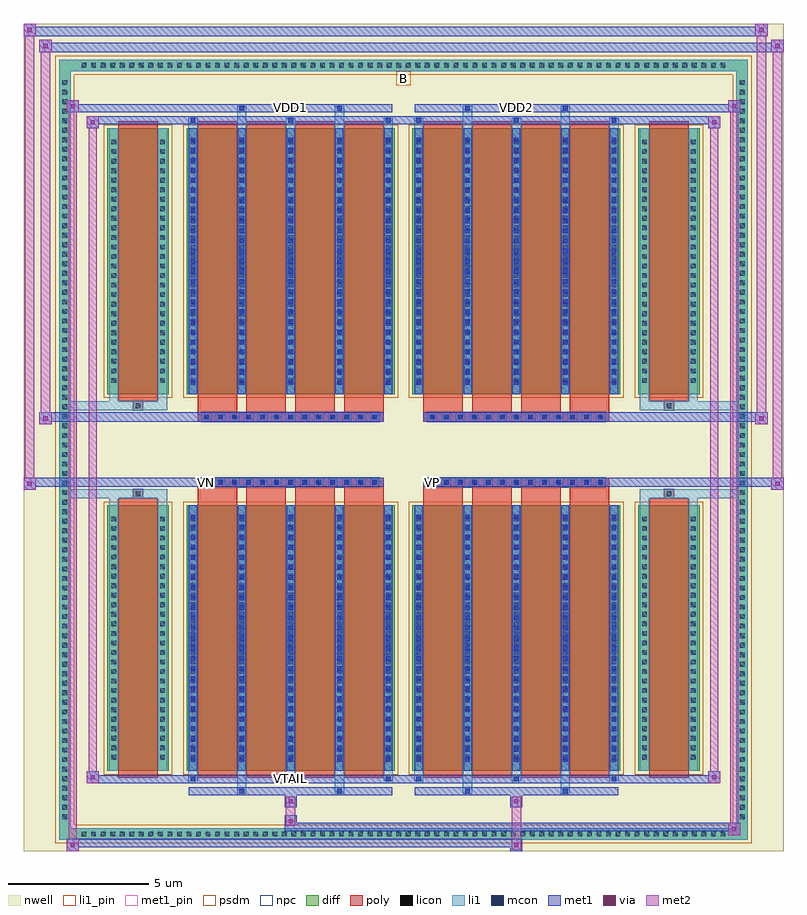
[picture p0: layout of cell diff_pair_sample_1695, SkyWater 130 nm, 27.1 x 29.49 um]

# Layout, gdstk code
import gdstk
lib = gdstk.Library(unit=1e-6, precision=5e-09)
def R(c, l, rs):  # rectangles x0, y0, x1, y1
    for r in rs: c.add(gdstk.rectangle(r[:2], r[2:], *l))
def A(c, l, x, y, w, h, nx, ny, dx, dy):  # array of equal rectangles
    R(c, l, [(x+i*dx, y+j*dy, x+i*dx+w, y+j*dy+h) for i in range(nx) for j in range(ny)])
def P(c, l, *ps):  # polygons
    for p in ps: c.add(gdstk.Polygon(p, *l))
nwell = (64, 20)
diff = (65, 20)
poly = (66, 20)
licon = (66, 44)
li1_pin = (67, 16)
li1 = (67, 20)
mcon = (67, 44)
met1_pin = (68, 16)
met1 = (68, 20)
via = (68, 44)
met2 = (69, 20)
psdm = (94, 20)
npc = (95, 20)

diff_pair_sample_1695 = lib.new_cell('diff_pair_sample_1695')
R(diff_pair_sample_1695, nwell, [(-13.55,-14.31,13.55,15.18), (-10.87,-12.5,-0.01,-0.8), (0.01,-12.5,10.87,-0.8), (-10.87,0.8,-0.01,12.5), (0.01,0.8,10.87,12.5)])
A(diff_pair_sample_1695, diff, -11.595, -13.91, 0.41, 0.41, 68, 2, 0.34, 27.41)
A(diff_pair_sample_1695, diff, -12.28, -13.295, 0.41, 0.41, 1, 78, 0, 0.34)
A(diff_pair_sample_1695, diff, 11.87, -13.295, 0.41, 0.41, 1, 78, 0, 0.34)
R(diff_pair_sample_1695, diff, [(-11.595,-13.91,11.595,-13.5), (-12.28,-13.295,-11.87,13.295), (11.87,-13.295,12.28,13.295), (-10.56,-11.455,-8.37,-1.985), (-7.73,-11.455,-0.32,-1.985), (0.32,-11.455,7.73,-1.985), (8.37,-11.455,10.56,-1.985), (-10.56,1.985,-8.37,11.455), (-7.73,1.985,-0.32,11.455), (0.32,1.985,7.73,11.455), (8.37,1.985,10.56,11.455), (-11.595,13.5,11.595,13.91)])
P(diff_pair_sample_1695, diff, [(12.28,13.91),(-12.28,13.91),(-12.28,-13.5),(-11.87,-13.5),(-11.87,13.5),(11.87,13.5),(11.87,-13.5),(-11.87,-13.5),(-12.28,-13.5),(-12.28,-13.91),(12.28,-13.91)])
A(diff_pair_sample_1695, poly, -7.34, -11.705, 1.41, 9.97, 4, 2, 1.74, 13.44)
A(diff_pair_sample_1695, poly, 0.71, -11.705, 1.41, 9.97, 4, 2, 1.74, 13.44)
A(diff_pair_sample_1695, poly, -7.34, -1.735, 1.41, 0.405, 4, 2, 1.74, 3.065)
A(diff_pair_sample_1695, poly, 0.71, -1.735, 1.41, 0.405, 4, 2, 1.74, 3.065)
A(diff_pair_sample_1695, poly, -7.19, -1.33, 0.33, 0.33, 13, 2, 0.5, 2.33)
A(diff_pair_sample_1695, poly, 0.86, -1.33, 0.33, 0.33, 13, 2, 0.5, 2.33)
R(diff_pair_sample_1695, poly, [(-10.17,-11.705,-8.76,-1.735), (8.76,-11.705,10.17,-1.735), (-9.63,-1.735,-9.3,-1.405), (-9.63,-1.735,-9.3,-1.405), (9.3,-1.735,9.63,-1.405), (9.3,-1.735,9.63,-1.405), (-7.34,-1.33,-0.71,-1), (0.71,-1.33,7.34,-1), (-7.34,1,-0.71,1.33), (0.71,1,7.34,1.33), (-9.63,1.405,-9.3,1.735), (-9.63,1.405,-9.3,1.735), (9.3,1.405,9.63,1.735), (9.3,1.405,9.63,1.735), (-10.17,1.735,-8.76,11.705), (8.76,1.735,10.17,11.705)])
A(diff_pair_sample_1695, licon, -11.475, -13.79, 0.17, 0.17, 68, 2, 0.34, 27.41)
A(diff_pair_sample_1695, licon, -12.16, -13.175, 0.17, 0.17, 1, 78, 0, 0.34)
A(diff_pair_sample_1695, licon, 11.99, -13.175, 0.17, 0.17, 1, 78, 0, 0.34)
A(diff_pair_sample_1695, licon, -10.42, -11.055, 0.17, 0.17, 1, 26, 0, 0.34)
A(diff_pair_sample_1695, licon, -8.68, -11.055, 0.17, 0.17, 1, 26, 0, 0.34)
A(diff_pair_sample_1695, licon, -7.59, -11.055, 0.17, 0.17, 5, 26, 1.74, 0.34)
A(diff_pair_sample_1695, licon, 0.46, -11.055, 0.17, 0.17, 5, 26, 1.74, 0.34)
A(diff_pair_sample_1695, licon, 8.51, -11.055, 0.17, 0.17, 1, 26, 0, 0.34)
A(diff_pair_sample_1695, licon, 10.25, -11.055, 0.17, 0.17, 1, 26, 0, 0.34)
A(diff_pair_sample_1695, licon, -7.11, -1.25, 0.17, 0.17, 13, 2, 0.5, 2.33)
A(diff_pair_sample_1695, licon, 0.94, -1.25, 0.17, 0.17, 13, 2, 0.5, 2.33)
A(diff_pair_sample_1695, licon, -10.42, 2.385, 0.17, 0.17, 1, 26, 0, 0.34)
A(diff_pair_sample_1695, licon, -8.68, 2.385, 0.17, 0.17, 1, 26, 0, 0.34)
A(diff_pair_sample_1695, licon, -7.59, 2.385, 0.17, 0.17, 5, 26, 1.74, 0.34)
A(diff_pair_sample_1695, licon, 0.46, 2.385, 0.17, 0.17, 5, 26, 1.74, 0.34)
A(diff_pair_sample_1695, licon, 8.51, 2.385, 0.17, 0.17, 1, 26, 0, 0.34)
A(diff_pair_sample_1695, licon, 10.25, 2.385, 0.17, 0.17, 1, 26, 0, 0.34)
R(diff_pair_sample_1695, licon, [(-9.55,-1.655,-9.38,-1.485), (9.38,-1.655,9.55,-1.485), (-9.55,1.485,-9.38,1.655), (9.38,1.485,9.55,1.655)])
R(diff_pair_sample_1695, li1_pin, [(-0.25,13,0.25,13.5)])
A(diff_pair_sample_1695, li1, -11.555, -13.87, 0.33, 0.33, 68, 2, 0.34, 27.41)
A(diff_pair_sample_1695, li1, -12.24, -13.255, 0.33, 0.33, 1, 78, 0, 0.34)
A(diff_pair_sample_1695, li1, 11.91, -13.255, 0.33, 0.33, 1, 78, 0, 0.34)
A(diff_pair_sample_1695, li1, -7.67, -11.83, 0.33, 0.375, 3, 2, 3.48, 23.285)
A(diff_pair_sample_1695, li1, -7.59, -11.83, 0.17, 0.17, 3, 2, 3.48, 23.49)
A(diff_pair_sample_1695, li1, 0.38, -11.83, 0.33, 0.375, 3, 2, 3.48, 23.285)
A(diff_pair_sample_1695, li1, 0.46, -11.83, 0.17, 0.17, 3, 2, 3.48, 23.49)
A(diff_pair_sample_1695, li1, -7.67, -11.455, 0.33, 9.47, 5, 2, 1.74, 13.44)
A(diff_pair_sample_1695, li1, 0.38, -11.455, 0.33, 9.47, 5, 2, 1.74, 13.44)
A(diff_pair_sample_1695, li1, -10.5, -11.135, 0.33, 0.33, 1, 26, 0, 0.34)
A(diff_pair_sample_1695, li1, -8.76, -11.135, 0.33, 0.33, 1, 26, 0, 0.34)
A(diff_pair_sample_1695, li1, -7.67, -11.135, 0.33, 0.33, 5, 26, 1.74, 0.34)
A(diff_pair_sample_1695, li1, 0.38, -11.135, 0.33, 0.33, 5, 26, 1.74, 0.34)
A(diff_pair_sample_1695, li1, 8.43, -11.135, 0.33, 0.33, 1, 26, 0, 0.34)
A(diff_pair_sample_1695, li1, 10.17, -11.135, 0.33, 0.33, 1, 26, 0, 0.34)
A(diff_pair_sample_1695, li1, -7.59, -11.125, 0.17, 0.17, 5, 25, 1.74, 0.36)
A(diff_pair_sample_1695, li1, -7.59, -11.125, 0.17, 8.81, 5, 2, 1.74, 13.44)
A(diff_pair_sample_1695, li1, 0.46, -11.125, 0.17, 0.17, 5, 25, 1.74, 0.36)
A(diff_pair_sample_1695, li1, 0.46, -11.125, 0.17, 8.81, 5, 2, 1.74, 13.44)
A(diff_pair_sample_1695, li1, -7.19, -1.33, 0.33, 0.33, 13, 2, 0.5, 2.33)
A(diff_pair_sample_1695, li1, 0.86, -1.33, 0.33, 0.33, 13, 2, 0.5, 2.33)
A(diff_pair_sample_1695, li1, -10.5, 2.305, 0.33, 0.33, 1, 26, 0, 0.34)
A(diff_pair_sample_1695, li1, -8.76, 2.305, 0.33, 0.33, 1, 26, 0, 0.34)
A(diff_pair_sample_1695, li1, -7.67, 2.305, 0.33, 0.33, 5, 26, 1.74, 0.34)
A(diff_pair_sample_1695, li1, 0.38, 2.305, 0.33, 0.33, 5, 26, 1.74, 0.34)
A(diff_pair_sample_1695, li1, 8.43, 2.305, 0.33, 0.33, 1, 26, 0, 0.34)
A(diff_pair_sample_1695, li1, 10.17, 2.305, 0.33, 0.33, 1, 26, 0, 0.34)
A(diff_pair_sample_1695, li1, -7.59, 2.315, 0.17, 0.17, 5, 25, 1.74, 0.36)
A(diff_pair_sample_1695, li1, 0.46, 2.315, 0.17, 0.17, 5, 25, 1.74, 0.36)
R(diff_pair_sample_1695, li1, [(-12.28,-13.91,-11.87,-13.5), (-12.28,-13.91,-11.87,-13.5), (-11.87,-13.91,11.87,-13.5), (11.87,-13.91,12.28,-13.5), (11.87,-13.91,12.28,-13.5), (-12.28,-13.5,-11.87,13.5), (11.87,-13.5,12.28,13.5), (-5.93,-12.26,-5.6,-11.455), (-5.85,-12.26,-5.68,-12.09), (-2.45,-12.26,-2.12,-11.455), (-2.37,-12.26,-2.2,-12.09), (2.12,-12.26,2.45,-11.455), (2.2,-12.26,2.37,-12.09), (5.6,-12.26,5.93,-11.455), (5.68,-12.26,5.85,-12.09), (-10.5,-11.455,-10.17,-1.985), (-8.76,-11.455,-8.43,-1.985), (8.43,-11.455,8.76,-1.985), (10.17,-11.455,10.5,-1.985), (-10.5,-1.985,-10.17,-1.405), (-8.76,-1.985,-8.43,-1.405), (8.43,-1.985,8.76,-1.405), (10.17,-1.985,10.5,-1.405), (-12.28,-1.735,-9.63,-1.405), (-10.5,-1.735,-9.63,-1.405), (-9.63,-1.735,-9.3,-1.405), (-9.3,-1.735,-8.43,-1.405), (8.43,-1.735,9.3,-1.405), (9.3,-1.735,9.63,-1.405), (9.3,-1.735,12.28,-1.405), (9.63,-1.735,10.5,-1.405), (-12.28,1.405,-9.63,1.735), (-10.5,1.405,-9.63,1.735), (-10.5,1.405,-10.17,1.985), (-9.63,1.405,-9.3,1.735), (-9.3,1.405,-8.43,1.735), (-8.76,1.405,-8.43,1.985), (8.43,1.405,9.3,1.735), (8.43,1.405,8.76,1.985), (9.3,1.405,9.63,1.735), (9.3,1.405,12.28,1.735), (9.63,1.405,10.5,1.735), (10.17,1.405,10.5,1.985), (-10.5,1.985,-10.17,11.455), (-8.76,1.985,-8.43,11.455), (8.43,1.985,8.76,11.455), (10.17,1.985,10.5,11.455), (-5.93,11.455,-5.6,12.26), (-2.45,11.455,-2.12,12.26), (2.12,11.455,2.45,12.26), (5.6,11.455,5.93,12.26), (-5.85,12.09,-5.68,12.26), (-2.37,12.09,-2.2,12.26), (2.2,12.09,2.37,12.26), (5.68,12.09,5.85,12.26), (-12.28,13.5,-11.87,13.91), (-12.28,13.5,-11.87,13.91), (-11.87,13.5,11.87,13.91), (11.87,13.5,12.28,13.91), (11.87,13.5,12.28,13.91)])
A(diff_pair_sample_1695, mcon, -7.59, -11.83, 0.17, 0.17, 3, 2, 3.48, 23.49)
A(diff_pair_sample_1695, mcon, 0.46, -11.83, 0.17, 0.17, 3, 2, 3.48, 23.49)
A(diff_pair_sample_1695, mcon, -7.59, -11.125, 0.17, 0.17, 5, 25, 1.74, 0.36)
A(diff_pair_sample_1695, mcon, 0.46, -11.125, 0.17, 0.17, 5, 25, 1.74, 0.36)
A(diff_pair_sample_1695, mcon, -7.11, -1.25, 0.17, 0.17, 13, 2, 0.5, 2.33)
A(diff_pair_sample_1695, mcon, 0.94, -1.25, 0.17, 0.17, 13, 2, 0.5, 2.33)
A(diff_pair_sample_1695, mcon, -7.59, 2.315, 0.17, 0.17, 5, 25, 1.74, 0.36)
A(diff_pair_sample_1695, mcon, 0.46, 2.315, 0.17, 0.17, 5, 25, 1.74, 0.36)
R(diff_pair_sample_1695, mcon, [(-5.85,-12.26,-5.68,-12.09), (-2.37,-12.26,-2.2,-12.09), (2.2,-12.26,2.37,-12.09), (5.68,-12.26,5.85,-12.09), (-5.85,12.09,-5.68,12.26), (-2.37,12.09,-2.2,12.26), (2.2,12.09,2.37,12.26), (5.68,12.09,5.85,12.26)])
R(diff_pair_sample_1695, met1_pin, [(-4.16,-11.87,-3.89,-11.6), (-7.16,-1.29,-6.89,-1.02), (0.89,-1.29,1.16,-1.02), (-4.16,12.05,-3.89,12.32), (3.89,12.05,4.16,12.32)])
A(diff_pair_sample_1695, met1, -7.65, -11.89, 0.29, 0.29, 3, 2, 3.48, 23.49)
A(diff_pair_sample_1695, met1, 0.4, -11.89, 0.29, 0.29, 3, 2, 3.48, 23.49)
A(diff_pair_sample_1695, met1, -7.65, -11.455, 0.29, 9.47, 5, 2, 1.74, 13.44)
A(diff_pair_sample_1695, met1, 0.4, -11.455, 0.29, 9.47, 5, 2, 1.74, 13.44)
A(diff_pair_sample_1695, met1, -7.65, -11.185, 0.29, 0.29, 5, 25, 1.74, 0.36)
A(diff_pair_sample_1695, met1, 0.4, -11.185, 0.29, 0.29, 5, 25, 1.74, 0.36)
A(diff_pair_sample_1695, met1, -7.17, -1.31, 0.29, 0.29, 13, 2, 0.5, 2.33)
A(diff_pair_sample_1695, met1, 0.88, -1.31, 0.29, 0.29, 13, 2, 0.5, 2.33)
A(diff_pair_sample_1695, met1, -7.65, 2.255, 0.29, 0.29, 5, 25, 1.74, 0.36)
A(diff_pair_sample_1695, met1, 0.4, 2.255, 0.29, 0.29, 5, 25, 1.74, 0.36)
R(diff_pair_sample_1695, met1, [(-12.01,-14.31,-11.58,-13.88), (3.81,-14.31,4.24,-13.88), (-12.01,-14.17,4.24,-13.88), (11.58,-13.74,12.01,-13.31), (-4.24,-13.6,12.01,-13.31), (-4.24,-13.46,-3.81,-13.03), (-4.24,-12.75,-3.81,-12.32), (3.81,-12.75,4.24,-12.32), (-7.65,-12.32,-0.4,-12.03), (-5.91,-12.32,-5.62,-12.03), (-2.43,-12.32,-2.14,-12.03), (0.4,-12.32,7.65,-12.03), (2.14,-12.32,2.43,-12.03), (5.62,-12.32,5.91,-12.03), (-11.3,-11.89,-10.87,-11.46), (-11.3,-11.89,-7.65,-11.6), (-7.65,-11.89,-0.4,-11.6), (-0.4,-11.89,0.4,-11.6), (0.4,-11.89,7.65,-11.6), (7.65,-11.89,11.3,-11.6), (10.87,-11.89,11.3,-11.46), (-13.55,-1.43,-13.12,-1), (13.12,-1.43,13.55,-1), (-13.55,-1.33,-0.71,-1), (-7.34,-1.33,-0.71,-1), (0.71,-1.33,7.34,-1), (0.71,-1.33,13.55,-1), (-12.98,0.9,-12.55,1.33), (12.55,0.9,12.98,1.33), (-12.98,1,-7.34,1.33), (-7.34,1,-0.71,1.33), (0.71,1,7.34,1.33), (7.34,1,12.98,1.33), (-11.3,11.46,-10.87,11.89), (10.87,11.46,11.3,11.89), (-11.3,11.6,-7.65,11.89), (-7.65,11.6,-0.4,11.89), (-0.4,11.6,0.4,11.89), (0.4,11.6,7.65,11.89), (7.65,11.6,11.3,11.89), (-12.01,12.03,-11.58,12.46), (-12.01,12.03,-7.65,12.32), (-7.65,12.03,-0.4,12.32), (-5.91,12.03,-5.62,12.32), (-2.43,12.03,-2.14,12.32), (0.4,12.03,7.65,12.32), (2.14,12.03,2.43,12.32), (5.62,12.03,5.91,12.32), (7.65,12.03,12.01,12.32), (11.58,12.03,12.01,12.46), (-12.98,14.18,-12.55,14.61), (-12.98,14.18,-10.87,14.51), (-10.87,14.18,10.87,14.51), (10.87,14.18,13.55,14.51), (13.12,14.18,13.55,14.61), (-13.55,14.75,-13.12,15.18), (-13.55,14.75,-10.87,15.08), (-10.87,14.75,10.87,15.08), (10.87,14.75,12.98,15.08), (12.55,14.75,12.98,15.18)])
R(diff_pair_sample_1695, via, [(-11.87,-14.17,-11.72,-14.02), (3.95,-14.17,4.1,-14.02), (11.72,-13.6,11.87,-13.45), (-4.1,-13.32,-3.95,-13.17), (-4.1,-12.61,-3.95,-12.46), (3.95,-12.61,4.1,-12.46), (-11.16,-11.75,-11.01,-11.6), (11.01,-11.75,11.16,-11.6), (-13.41,-1.29,-13.26,-1.14), (13.26,-1.29,13.41,-1.14), (-12.84,1.04,-12.69,1.19), (12.69,1.04,12.84,1.19), (-11.16,11.6,-11.01,11.75), (11.01,11.6,11.16,11.75), (-11.87,12.17,-11.72,12.32), (11.72,12.17,11.87,12.32), (-12.84,14.32,-12.69,14.47), (13.26,14.32,13.41,14.47), (-13.41,14.89,-13.26,15.04), (12.69,14.89,12.84,15.04)])
R(diff_pair_sample_1695, met2, [(-12.01,-14.31,-11.58,-13.88), (-11.94,-14.31,-11.65,12.46), (-11.65,-14.31,-11.58,-13.88), (-11.96,-14.26,-11.63,-13.93), (3.86,-14.26,4.19,-13.93), (3.86,-13.93,4.19,-12.7), (11.58,-13.74,12.01,-13.31), (11.65,-13.74,11.94,12.46), (11.94,-13.74,12.01,-13.31), (11.63,-13.69,11.96,-13.36), (-4.19,-13.41,-3.86,-13.08), (-4.19,-13.08,-3.86,-12.7), (-4.19,-12.7,-3.86,-12.37), (3.86,-12.7,4.19,-12.37), (-11.3,-11.89,-10.87,-11.46), (-11.23,-11.89,-10.94,11.89), (-10.94,-11.89,-10.87,-11.46), (10.87,-11.89,11.3,-11.46), (10.94,-11.89,11.23,11.89), (11.23,-11.89,11.3,-11.46), (-11.25,-11.84,-10.92,-11.51), (10.92,-11.84,11.25,-11.51), (-13.55,-1.43,-13.12,-1), (-13.5,-1.43,-13.17,15.18), (-13.17,-1.43,-13.12,-1), (13.12,-1.43,13.55,-1), (13.17,-1.43,13.5,14.61), (13.5,-1.43,13.55,-1), (-13.5,-1.38,-13.17,-1.05), (13.17,-1.38,13.5,-1.05), (-12.98,0.9,-12.55,1.33), (-12.93,0.9,-12.6,14.61), (-12.6,0.9,-12.55,1.33), (12.55,0.9,12.98,1.33), (12.6,0.9,12.93,15.18), (12.93,0.9,12.98,1.33), (-12.93,0.95,-12.6,1.28), (12.6,0.95,12.93,1.28), (-11.3,11.46,-10.87,11.89), (-10.94,11.46,-10.87,11.89), (10.87,11.46,11.3,11.89), (11.23,11.46,11.3,11.89), (-11.25,11.51,-10.92,11.84), (10.92,11.51,11.25,11.84), (-12.01,12.03,-11.58,12.46), (-11.65,12.03,-11.58,12.46), (11.58,12.03,12.01,12.46), (11.94,12.03,12.01,12.46), (-11.96,12.08,-11.63,12.41), (11.63,12.08,11.96,12.41), (-12.98,14.18,-12.55,14.61), (-12.6,14.18,-12.55,14.61), (13.12,14.18,13.55,14.61), (13.5,14.18,13.55,14.61), (-12.93,14.23,-12.6,14.56), (13.17,14.23,13.5,14.56), (-13.55,14.75,-13.12,15.18), (-13.17,14.75,-13.12,15.18), (12.55,14.75,12.98,15.18), (12.93,14.75,12.98,15.18), (-13.5,14.8,-13.17,15.13), (12.6,14.8,12.93,15.13)])
R(diff_pair_sample_1695, psdm, [(-10.69,-11.585,-8.24,-1.855), (-7.86,-11.585,-0.19,-1.855), (0.19,-11.585,7.86,-1.855), (8.24,-11.585,10.69,-1.855), (-10.69,1.855,-8.24,11.585), (-7.86,1.855,-0.19,11.585), (0.19,1.855,7.86,11.585), (8.24,1.855,10.69,11.585)])
P(diff_pair_sample_1695, psdm, [(12.41,14.04),(-12.41,14.04),(-12.41,-13.37),(-11.74,-13.37),(-11.74,13.37),(11.74,13.37),(11.74,-13.37),(-11.74,-13.37),(-12.41,-13.37),(-12.41,-14.04),(12.41,-14.04)])
A(diff_pair_sample_1695, npc, -7.21, -1.35, 0.37, 0.37, 13, 2, 0.5, 2.33)
A(diff_pair_sample_1695, npc, 0.84, -1.35, 0.37, 0.37, 13, 2, 0.5, 2.33)
R(diff_pair_sample_1695, npc, [(-9.65,-1.755,-9.28,-1.385), (9.28,-1.755,9.65,-1.385), (-7.21,-1.35,-6.34,-0.98), (-7.21,-1.35,-6.34,-0.98), (-6.71,-1.35,-5.84,-0.98), (-6.71,-1.35,-5.84,-0.98), (-6.21,-1.35,-5.34,-0.98), (-6.21,-1.35,-5.34,-0.98), (-5.71,-1.35,-4.84,-0.98), (-5.71,-1.35,-4.84,-0.98), (-5.21,-1.35,-4.34,-0.98), (-5.21,-1.35,-4.34,-0.98), (-4.71,-1.35,-3.84,-0.98), (-4.71,-1.35,-3.84,-0.98), (-4.21,-1.35,-3.34,-0.98), (-4.21,-1.35,-3.34,-0.98), (-3.71,-1.35,-2.84,-0.98), (-3.71,-1.35,-2.84,-0.98), (-3.21,-1.35,-2.34,-0.98), (-3.21,-1.35,-2.34,-0.98), (-2.71,-1.35,-1.84,-0.98), (-2.71,-1.35,-1.84,-0.98), (-2.21,-1.35,-1.34,-0.98), (-2.21,-1.35,-1.34,-0.98), (-1.71,-1.35,-0.84,-0.98), (-1.71,-1.35,-0.84,-0.98), (0.84,-1.35,1.71,-0.98), (0.84,-1.35,1.71,-0.98), (1.34,-1.35,2.21,-0.98), (1.34,-1.35,2.21,-0.98), (1.84,-1.35,2.71,-0.98), (1.84,-1.35,2.71,-0.98), (2.34,-1.35,3.21,-0.98), (2.34,-1.35,3.21,-0.98), (2.84,-1.35,3.71,-0.98), (2.84,-1.35,3.71,-0.98), (3.34,-1.35,4.21,-0.98), (3.34,-1.35,4.21,-0.98), (3.84,-1.35,4.71,-0.98), (3.84,-1.35,4.71,-0.98), (4.34,-1.35,5.21,-0.98), (4.34,-1.35,5.21,-0.98), (4.84,-1.35,5.71,-0.98), (4.84,-1.35,5.71,-0.98), (5.34,-1.35,6.21,-0.98), (5.34,-1.35,6.21,-0.98), (5.84,-1.35,6.71,-0.98), (5.84,-1.35,6.71,-0.98), (6.34,-1.35,7.21,-0.98), (6.34,-1.35,7.21,-0.98), (-7.21,0.98,-6.34,1.35), (-7.21,0.98,-6.34,1.35), (-6.71,0.98,-5.84,1.35), (-6.71,0.98,-5.84,1.35), (-6.21,0.98,-5.34,1.35), (-6.21,0.98,-5.34,1.35), (-5.71,0.98,-4.84,1.35), (-5.71,0.98,-4.84,1.35), (-5.21,0.98,-4.34,1.35), (-5.21,0.98,-4.34,1.35), (-4.71,0.98,-3.84,1.35), (-4.71,0.98,-3.84,1.35), (-4.21,0.98,-3.34,1.35), (-4.21,0.98,-3.34,1.35), (-3.71,0.98,-2.84,1.35), (-3.71,0.98,-2.84,1.35), (-3.21,0.98,-2.34,1.35), (-3.21,0.98,-2.34,1.35), (-2.71,0.98,-1.84,1.35), (-2.71,0.98,-1.84,1.35), (-2.21,0.98,-1.34,1.35), (-2.21,0.98,-1.34,1.35), (-1.71,0.98,-0.84,1.35), (-1.71,0.98,-0.84,1.35), (0.84,0.98,1.71,1.35), (0.84,0.98,1.71,1.35), (1.34,0.98,2.21,1.35), (1.34,0.98,2.21,1.35), (1.84,0.98,2.71,1.35), (1.84,0.98,2.71,1.35), (2.34,0.98,3.21,1.35), (2.34,0.98,3.21,1.35), (2.84,0.98,3.71,1.35), (2.84,0.98,3.71,1.35), (3.34,0.98,4.21,1.35), (3.34,0.98,4.21,1.35), (3.84,0.98,4.71,1.35), (3.84,0.98,4.71,1.35), (4.34,0.98,5.21,1.35), (4.34,0.98,5.21,1.35), (4.84,0.98,5.71,1.35), (4.84,0.98,5.71,1.35), (5.34,0.98,6.21,1.35), (5.34,0.98,6.21,1.35), (5.84,0.98,6.71,1.35), (5.84,0.98,6.71,1.35), (6.34,0.98,7.21,1.35), (6.34,0.98,7.21,1.35), (-9.65,1.385,-9.28,1.755), (9.28,1.385,9.65,1.755)])
diff_pair_sample_1695.add(gdstk.Label('VTAIL', (-4.025,-11.735), layer=68, texttype=5))
diff_pair_sample_1695.add(gdstk.Label('VN', (-7.025,-1.155), layer=68, texttype=5))
diff_pair_sample_1695.add(gdstk.Label('VP', (1.025,-1.155), layer=68, texttype=5))
diff_pair_sample_1695.add(gdstk.Label('B', (0,13.25), layer=67, texttype=5))
diff_pair_sample_1695.add(gdstk.Label('VDD2', (4.025,12.185), layer=68, texttype=5))
diff_pair_sample_1695.add(gdstk.Label('VDD1', (-4.025,12.185), layer=68, texttype=5))

lib.write_gds('diff_pair_sample_1695.gds')
